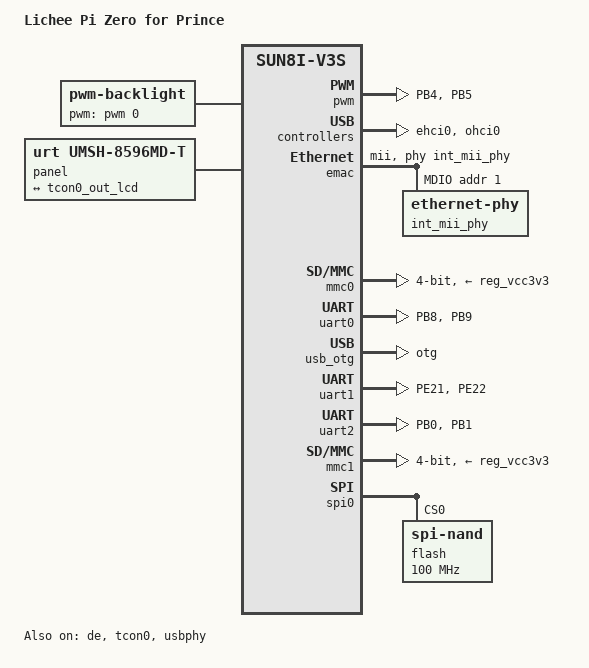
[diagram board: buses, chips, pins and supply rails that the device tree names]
/*
 * Copyright (C) 2016 Icenowy Zheng <icenowy@aosc.xyz>
 *
 * This file is dual-licensed: you can use it either under the terms
 * of the GPL or the X11 license, at your option. Note that this dual
 * licensing only applies to this file, and not this project as a
 * whole.
 *
 *  a) This file is free software; you can redistribute it and/or
 *     modify it under the terms of the GNU General Public License as
 *     published by the Free Software Foundation; either version 2 of the
 *     License, or (at your option) any later version.
 *
 *     This file is distributed in the hope that it will be useful,
 *     but WITHOUT ANY WARRANTY; without even the implied warranty of
 *     MERCHANTABILITY or FITNESS FOR A PARTICULAR PURPOSE.  See the
 *     GNU General Public License for more details.
 *
 * Or, alternatively,
 *
 *  b) Permission is hereby granted, free of charge, to any person
 *     obtaining a copy of this software and associated documentation
 *     files (the "Software"), to deal in the Software without
 *     restriction, including without limitation the rights to use,
 *     copy, modify, merge, publish, distribute, sublicense, and/or
 *     sell copies of the Software, and to permit persons to whom the
 *     Software is furnished to do so, subject to the following
 *     conditions:
 *
 *     The above copyright notice and this permission notice shall be
 *     included in all copies or substantial portions of the Software.
 *
 *     THE SOFTWARE IS PROVIDED "AS IS", WITHOUT WARRANTY OF ANY KIND,
 *     EXPRESS OR IMPLIED, INCLUDING BUT NOT LIMITED TO THE WARRANTIES
 *     OF MERCHANTABILITY, FITNESS FOR A PARTICULAR PURPOSE AND
 *     NONINFRINGEMENT. IN NO EVENT SHALL THE AUTHORS OR COPYRIGHT
 *     HOLDERS BE LIABLE FOR ANY CLAIM, DAMAGES OR OTHER LIABILITY,
 *     WHETHER IN AN ACTION OF CONTRACT, TORT OR OTHERWISE, ARISING
 *     FROM, OUT OF OR IN CONNECTION WITH THE SOFTWARE OR THE USE OR
 *     OTHER DEALINGS IN THE SOFTWARE.
 */

/dts-v1/;
#include "sun8i-v3s.dtsi"
#include "sunxi-common-regulators.dtsi"
#include <dt-bindings/interrupt-controller/arm-gic.h>
#include <dt-bindings/clock/sun8i-v3s-ccu.h>
#include <dt-bindings/reset/sun8i-v3s-ccu.h>
#include <dt-bindings/input/input.h>
#include <dt-bindings/pwm/pwm.h>

/ {
	model = "Lichee Pi Zero for Prince";
	compatible = "licheepi,licheepi-zero", "allwinner,sun8i-v3s";

	aliases {
		serial0 = &uart0;
	};

	chosen {
		stdout-path = "serial0:115200n8";
	};

	soc {

		syscon: syscon@1c00000 {
			compatible = "allwinner,sun8i-v3s-system-controller", "allwinner,sun8i-h3-system-control", "syscon";
			reg = <0x01c00000 0xd0>;
			#address-cells = <1>;
			#size-cells = <1>;
			ranges;

			sram_c: sram@1d00000 {
				compatible = "mmio-sram";
				reg = <0x01d00000 0x80000>;
				#address-cells = <1>;
				#size-cells = <1>;
				ranges = <0 0x01d00000 0x80000>;

				ve_sram: sram-section@0 {
					compatible = "allwinner,sun8i-v3s-sram-c", "allwinner,sun4i-a10-sram-c1";
					reg = <0x000000 0x80000>;
				};
			};
		};

		pwm: pwm@01c21400 {
            compatible = "allwinner,sun7i-a20-pwm";         //这里选a20是因为v3s和a20一样有两路pwm
            reg = <0x01c21400 0xC>;
            clocks = <&osc24M>;
            #pwm-cells = <3>;
            status = "okay";
    	};

		ehci0: usb@01c1a000 {
			compatible = "allwinner,sun8i-v3s-ehci", "generic-ehci";
			reg = <0x01c1a000 0x100>;
			interrupts = <GIC_SPI 72 IRQ_TYPE_LEVEL_HIGH>;
			clocks = <&ccu CLK_BUS_EHCI0>, <&ccu CLK_BUS_OHCI0>;
			resets = <&ccu RST_BUS_EHCI0>, <&ccu RST_BUS_OHCI0>;
			status = "disabled";
		};

		ohci0: usb@01c1a400 {
			compatible = "allwinner,sun8i-v3s-ohci", "generic-ohci";
			reg = <0x01c1a400 0x100>;
			interrupts = <GIC_SPI 73 IRQ_TYPE_LEVEL_HIGH>;
			clocks = <&ccu CLK_BUS_EHCI0>, <&ccu CLK_BUS_OHCI0>,
				 <&ccu CLK_USB_OHCI0>;
			resets = <&ccu RST_BUS_EHCI0>, <&ccu RST_BUS_OHCI0>;
			status = "disabled";
		};

		emac: ethernet@1c30000 {
			compatible = "allwinner,sun8i-v3s-emac";
			syscon = <&syscon>;
			reg = <0x01c30000 0x104>;
			interrupts = <GIC_SPI 82 IRQ_TYPE_LEVEL_HIGH>;
			interrupt-names = "macirq";
			resets = <&ccu RST_BUS_EMAC>;
			reset-names = "stmmaceth";
			clocks = <&ccu CLK_BUS_EMAC>;
			clock-names = "stmmaceth";
			#address-cells = <1>;
			#size-cells = <0>;
			phy-handle = <&int_mii_phy>;
			phy-mode = "mii";
			status = "okay";
			allwinner,leds-active-low;

			mdio: mdio {
				#address-cells = <1>;
				#size-cells = <0>;
				compatible = "snps,dwmac-mdio";
			};

			mdio-mux {
				compatible = "mdio-mux", "allwinner,sun8i-h3-mdio-mux";
				#address-cells = <1>;
				#size-cells = <0>;

				mdio-parent-bus = <&mdio>;

				int_mdio: mdio@1 {
					compatible = "allwinner,sun8i-h3-mdio-internal";
					reg = <1>;
					#address-cells = <1>;
					#size-cells = <0>;

					int_mii_phy: ethernet-phy@1 {
						reg = <1>;
						clocks = <&ccu CLK_BUS_EPHY>;
						resets = <&ccu RST_BUS_EPHY>;
						phy-is-integrated;
					};
				};
			};
		};
	};

	backlight: backlight {
		compatible = "pwm-backlight";
		pwms = <&pwm 0 1000000 0>;
		brightness-levels = <0 30 40 50 60 70 100>;
		default-brightness-level = <6>;
	};

	panel: panel {
		#address-cells = <1>;
		#size-cells = <0>;

		port@0 {
			reg = <0>;
			backlight = <&backlight>;
			#address-cells = <1>;
			#size-cells = <0>;

			panel_input: endpoint@0 {
				reg = <0>;
				remote-endpoint = <&tcon0_out_lcd>;
			};
		};
	};
};

&panel {
	compatible = "urt,umsh-8596md-t", "simple-panel";
};

&de {
	status = "okay";
};

&tcon0 {
	pinctrl-names = "default";
	pinctrl-0 = <&lcd_rgb666_pins_a>;
	status = "okay";
};

&tcon0_out {
	tcon0_out_lcd: endpoint@0 {
		reg = <0>;
		remote-endpoint = <&panel_input>;
	};
};

&pio {
	uart0_pins: uart0@0 {
		pins = "PB8", "PB9";
		function = "uart0";
	};

	uart1_pins: uart1@0 {
		pins = "PE21", "PE22";
		function = "uart1";
		bias-pull-up;
	};

	uart2_pins: uart2@0 {
		pins = "PB0", "PB1";
		function = "uart2";
		bias-pull-up;
	};

	mmc0_pins_a: mmc0@0 {
		pins = "PF0", "PF1", "PF2", "PF3",
				"PF4", "PF5";
		function = "mmc0";
		drive-strength = <30>;
		bias-pull-up;
	};

	pwm0_pins: pwm0 {
        pins = "PB4";
        function = "pwm0";
	};

	pwm1_pins: pwm1 {
		pins = "PB5";
		function = "pwm1";
	};
};

&pwm {
        pinctrl-names = "default";
        pinctrl-0 = <&pwm0_pins>, <&pwm1_pins>;
        status = "okay";
};

&ohci0 {
	status = "okay";
};

&ehci0 {
	status = "okay";
};

&mmc0 {
	broken-cd;
	bus-width = <4>;
	vmmc-supply = <&reg_vcc3v3>;
	status = "okay";
};

&uart0 {
	pinctrl-0 = <&uart0_pb_pins>;
	pinctrl-names = "default";
	status = "okay";
};

&usb_otg {
	dr_mode = "otg";
	status = "okay";
};

&usbphy {
	usb0_id_det-gpios = <&pio 5 6 GPIO_ACTIVE_HIGH>;
	status = "okay";
};

&emac {
	phy-handle = <&int_mii_phy>;
	phy-mode = "mii";
	allwinner,leds-active-low;
	local-mac-address = [a4 51 29 00 00 05];
	status = "okay";
};

&uart0 {
	pinctrl-0 = <&uart0_pins>;
	pinctrl-names = "default";
	status = "okay";
};

&uart1 {
	pinctrl-0 = <&uart1_pins>;
	pinctrl-names = "default";
	status = "okay";
};

&uart2 {
	pinctrl-0 = <&uart2_pins>;
	pinctrl-names = "default";
	status = "okay";
};

&mmc1 {
	broken-cd;
	bus-width = <4>;
	vmmc-supply = <&reg_vcc3v3>;
	max-frequency = <12500000>;
	status = "okay";
};

&spi0 {
    pinctrl-names = "default";
    pinctrl-0 = <&spi0_pins>;
    status = "okay";

	flash: spinand@0 {
		#address-cells = <1>;
		#size-cells = <1>;
		compatible = "spi-nand";
		reg = <0>;
		spi-max-frequency = <100000000>;

		boot@0 {
			label = "boot";
			reg = <0x0000000 0x0100000>;
		};

		ubi0@100000 {
			label = "ubi0";
			reg = <0x0100000 0x0000000>;
		};
	};
};
